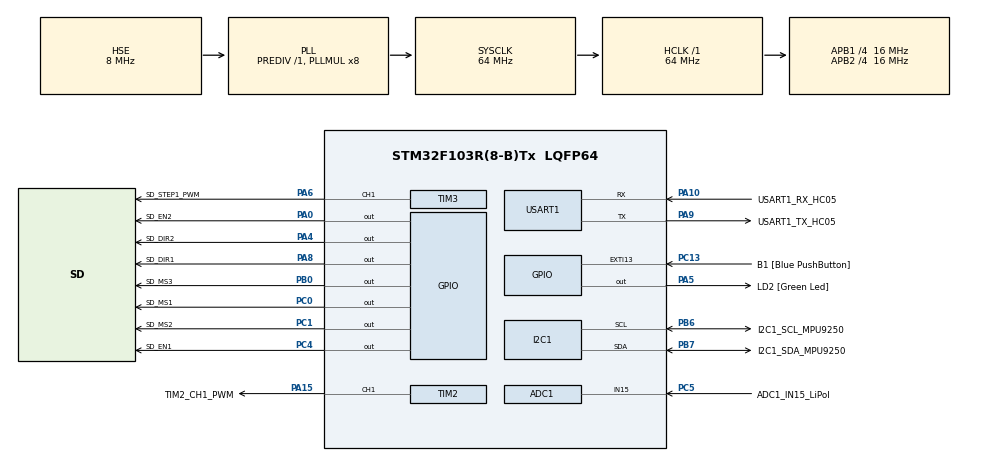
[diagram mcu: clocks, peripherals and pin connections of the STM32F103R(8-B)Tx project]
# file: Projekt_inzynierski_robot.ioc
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ADC1.Channel-0\#ChannelRegularConversion=ADC_CHANNEL_15
ADC1.EnableAnalogWatchDog=false
ADC1.NbrOfConversionFlag=1
ADC1.Rank-0\#ChannelRegularConversion=1
ADC1.SamplingTime-0\#ChannelRegularConversion=ADC_SAMPLETIME_239CYCLES_5
ADC1.master=1
Dma.ADC1.0.Direction=DMA_PERIPH_TO_MEMORY
Dma.ADC1.0.Instance=DMA1_Channel1
Dma.ADC1.0.MemDataAlignment=DMA_MDATAALIGN_HALFWORD
Dma.ADC1.0.MemInc=DMA_MINC_ENABLE
Dma.ADC1.0.Mode=DMA_NORMAL
Dma.ADC1.0.PeriphDataAlignment=DMA_PDATAALIGN_HALFWORD
Dma.ADC1.0.PeriphInc=DMA_PINC_DISABLE
Dma.ADC1.0.Priority=DMA_PRIORITY_LOW
Dma.I2C1_RX.1.Direction=DMA_PERIPH_TO_MEMORY
Dma.I2C1_RX.1.Instance=DMA1_Channel7
Dma.I2C1_RX.1.MemDataAlignment=DMA_MDATAALIGN_BYTE
Dma.I2C1_RX.1.MemInc=DMA_MINC_ENABLE
Dma.I2C1_RX.1.Mode=DMA_NORMAL
Dma.I2C1_RX.1.PeriphDataAlignment=DMA_PDATAALIGN_BYTE
Dma.I2C1_RX.1.PeriphInc=DMA_PINC_DISABLE
Dma.I2C1_RX.1.Priority=DMA_PRIORITY_LOW
Dma.I2C1_TX.2.Direction=DMA_MEMORY_TO_PERIPH
Dma.I2C1_TX.2.Instance=DMA1_Channel6
Dma.I2C1_TX.2.MemDataAlignment=DMA_MDATAALIGN_BYTE
Dma.I2C1_TX.2.MemInc=DMA_MINC_ENABLE
Dma.I2C1_TX.2.Mode=DMA_NORMAL
Dma.I2C1_TX.2.PeriphDataAlignment=DMA_PDATAALIGN_BYTE
Dma.I2C1_TX.2.PeriphInc=DMA_PINC_DISABLE
Dma.I2C1_TX.2.Priority=DMA_PRIORITY_LOW
Dma.Request0=ADC1
Dma.Request1=I2C1_RX
Dma.Request2=I2C1_TX
Dma.Request3=USART1_RX
Dma.Request4=USART1_TX
Dma.USART1_RX.3.Direction=DMA_PERIPH_TO_MEMORY
Dma.USART1_RX.3.Instance=DMA1_Channel5
Dma.USART1_RX.3.MemDataAlignment=DMA_MDATAALIGN_BYTE
Dma.USART1_RX.3.MemInc=DMA_MINC_ENABLE
Dma.USART1_RX.3.Mode=DMA_NORMAL
Dma.USART1_RX.3.PeriphDataAlignment=DMA_PDATAALIGN_BYTE
Dma.USART1_RX.3.PeriphInc=DMA_PINC_DISABLE
Dma.USART1_RX.3.Priority=DMA_PRIORITY_LOW
Dma.USART1_TX.4.Direction=DMA_MEMORY_TO_PERIPH
Dma.USART1_TX.4.Instance=DMA1_Channel4
Dma.USART1_TX.4.MemDataAlignment=DMA_MDATAALIGN_BYTE
Dma.USART1_TX.4.MemInc=DMA_MINC_ENABLE
Dma.USART1_TX.4.Mode=DMA_NORMAL
Dma.USART1_TX.4.PeriphDataAlignment=DMA_PDATAALIGN_BYTE
Dma.USART1_TX.4.PeriphInc=DMA_PINC_DISABLE
Dma.USART1_TX.4.Priority=DMA_PRIORITY_LOW
FREERTOS.Tasks01=LiPol_Task,0,512,Start_LiPol_Task,Default,NULL,Dynamic,NULL,NULL;Engines_Task,0,512,Start_Engines_Task,Default,NULL,Dynamic,NULL,NULL;IMU_Task,1,512,Start_IMU_Task,Default,NULL,Dynamic,NULL,NULL;USART_Task,0,512,Start_USART_Task,Default,NULL,Dynamic,NULL,NULL;Control_Task,0,512,Start_Control_Task,Default,NULL,Dynamic,NULL,NULL
FREERTOS.configTOTAL_HEAP_SIZE=12000
Mcu.Family=STM32F1
Mcu.Name=STM32F103R(8-B)Tx
Mcu.Package=LQFP64
NVIC.DMA1_Channel1_IRQn=true\:5\:0\:false\:false\:true\:true\:false\:true
NVIC.DMA1_Channel4_IRQn=true\:5\:0\:false\:false\:true\:true\:false\:true
NVIC.DMA1_Channel5_IRQn=true\:5\:0\:false\:false\:true\:true\:false\:true
NVIC.DMA1_Channel6_IRQn=true\:5\:0\:false\:false\:true\:true\:false\:true
NVIC.DMA1_Channel7_IRQn=true\:5\:0\:false\:false\:true\:true\:false\:true
NVIC.EXTI15_10_IRQn=true\:5\:0\:false\:false\:true\:true\:true\:true
NVIC.PriorityGroup=NVIC_PRIORITYGROUP_4
NVIC.USART1_IRQn=true\:5\:0\:false\:false\:true\:true\:true\:true
PA0-WKUP.GPIO_Label=SD_EN2
PA0-WKUP.Signal=GPIO_Output
PA10.GPIO_Label=USART1_RX_HC05
PA10.Mode=Asynchronous
PA10.Signal=USART1_RX
PA13.GPIO_Label=TMS
PA13.Mode=Serial_Wire
PA13.Signal=SYS_JTMS-SWDIO
PA14.GPIO_Label=TCK
PA14.Mode=Serial_Wire
PA14.Signal=SYS_JTCK-SWCLK
PA15.GPIO_Label=TIM2_CH1_PWM
PA15.Signal=S_TIM2_CH1_ETR
PA4.GPIO_Label=SD_DIR2
PA4.Signal=GPIO_Output
PA5.GPIO_Label=LD2 [Green Led]
PA5.GPIO_ModeDefaultOutputPP=GPIO_MODE_OUTPUT_PP
PA5.GPIO_PuPd=GPIO_NOPULL
PA5.GPIO_Speed=GPIO_SPEED_FREQ_LOW
PA5.Signal=GPIO_Output
PA6.GPIO_Label=SD_STEP1_PWM
PA6.Signal=S_TIM3_CH1
PA8.GPIO_Label=SD_DIR1
PA8.Signal=GPIO_Output
PA9.GPIO_Label=USART1_TX_HC05
PA9.Mode=Asynchronous
PA9.Signal=USART1_TX
PB0.GPIO_Label=SD_MS3
PB0.Signal=GPIO_Output
PB3.GPIO_Label=SWO
PB3.Signal=SYS_JTDO-TRACESWO
PB6.GPIO_Label=I2C1_SCL_MPU9250
PB6.Mode=I2C
PB6.Signal=I2C1_SCL
PB7.GPIO_Label=I2C1_SDA_MPU9250
PB7.Mode=I2C
PB7.Signal=I2C1_SDA
PC0.GPIO_Label=SD_MS1
PC0.Signal=GPIO_Output
PC1.GPIO_Label=SD_MS2
PC1.Signal=GPIO_Output
PC13-TAMPER-RTC.GPIO_Label=B1 [Blue PushButton]
PC13-TAMPER-RTC.GPIO_PuPd=GPIO_NOPULL
PC13-TAMPER-RTC.Signal=GPXTI13
PC14-OSC32_IN.Mode=LSE-External-Oscillator
PC14-OSC32_IN.Signal=RCC_OSC32_IN
PC15-OSC32_OUT.Mode=LSE-External-Oscillator
PC15-OSC32_OUT.Signal=RCC_OSC32_OUT
PC4.GPIO_Label=SD_EN1
PC4.Signal=GPIO_Output
PC5.GPIO_Label=ADC1_IN15_LiPol
PC5.Signal=ADCx_IN15
PD0-OSC_IN.Mode=HSE-External-Clock-Source
PD0-OSC_IN.Signal=RCC_OSC_IN
PD1-OSC_OUT.Mode=HSE-External-Clock-Source
PD1-OSC_OUT.Signal=RCC_OSC_OUT
ProjectManager.HeapSize=0x200
ProjectManager.StackSize=0x400
ProjectManager.TargetToolchain=TrueSTUDIO
RCC.ADCPresc=RCC_ADCPCLK2_DIV4
RCC.AHBFreq_Value=64000000
RCC.APB1CLKDivider=RCC_HCLK_DIV4
RCC.APB1Freq_Value=16000000
RCC.APB1TimFreq_Value=32000000
RCC.APB2CLKDivider=RCC_HCLK_DIV4
RCC.APB2Freq_Value=16000000
RCC.APB2TimFreq_Value=32000000
RCC.HCLKFreq_Value=64000000
RCC.PLLMUL=RCC_PLL_MUL8
RCC.PLLSourceVirtual=RCC_PLLSOURCE_HSE
RCC.RTCClockSelection=RCC_RTCCLKSOURCE_LSE
RCC.SYSCLKFreq_VALUE=64000000
RCC.SYSCLKSource=RCC_SYSCLKSOURCE_PLLCLK
RCC.USBFreq_Value=64000000
SH.ADCx_IN15.0=ADC1_IN15,IN15
SH.S_TIM2_CH1_ETR.0=TIM2_CH1,PWM Generation1 CH1
SH.S_TIM3_CH1.0=TIM3_CH1,PWM Generation1 CH1
TIM2.Channel-PWM\ Generation1\ CH1=TIM_CHANNEL_1
TIM2.Period=999
TIM3.Channel-PWM\ Generation1\ CH1=TIM_CHANNEL_1
TIM3.Period=999
USART1.VirtualMode=VM_ASYNC
VP_FREERTOS_VS_CMSIS_V1.Mode=CMSIS_V1
VP_TIM2_VS_ClockSourceINT.Mode=Internal
VP_TIM3_VS_ClockSourceINT.Mode=Internal
board=NUCLEO-F103RB

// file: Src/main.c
/* USER CODE BEGIN Header */
/**
  ******************************************************************************
  * @file           : main.c
  * @brief          : Main program body
  ******************************************************************************
  * @attention
  *
  * <h2><center>&copy; Copyright (c) 2019 STMicroelectronics.
  * All rights reserved.</center></h2>
  *
  * This software component is licensed by ST under Ultimate Liberty license
  * SLA0044, the "License"; You may not use this file except in compliance with
  * the License. You may obtain a copy of the License at:
  *                             www.st.com/SLA0044
  *
  ******************************************************************************
  */
/* USER CODE END Header */

#include "main.h"
#include "cmsis_os.h"
#include "adc.h"
#include "dma.h"
#include "i2c.h"
#include "tim.h"
#include "usart.h"
#include "gpio.h"

void SystemClock_Config(void);
void MX_FREERTOS_Init(void);

int main(void)
{

  /* MCU Configuration--------------------------------------------------------*/

  /* Reset of all peripherals, Initializes the Flash interface and the Systick. */
  HAL_Init();

  /* Configure the system clock */
  SystemClock_Config();

  /* Initialize all configured peripherals */
  MX_GPIO_Init();
  MX_DMA_Init();
  MX_ADC1_Init();
  MX_I2C1_Init();
  MX_TIM2_Init();
  MX_TIM3_Init();
  MX_USART1_UART_Init();

  /* Call init function for freertos objects (in freertos.c) */
  MX_FREERTOS_Init();

  /* Start scheduler */
  osKernelStart();

  /* We should never get here as control is now taken by the scheduler */

  /* Infinite loop */
  while (1)
  {

  }
}

void SystemClock_Config(void)
{
  RCC_OscInitTypeDef RCC_OscInitStruct = {0};
  RCC_ClkInitTypeDef RCC_ClkInitStruct = {0};
  RCC_PeriphCLKInitTypeDef PeriphClkInit = {0};

  /** Initializes the CPU, AHB and APB busses clocks
  */
  RCC_OscInitStruct.OscillatorType = RCC_OSCILLATORTYPE_HSE;
  RCC_OscInitStruct.HSEState = RCC_HSE_BYPASS;
  RCC_OscInitStruct.HSEPredivValue = RCC_HSE_PREDIV_DIV1;
  RCC_OscInitStruct.HSIState = RCC_HSI_ON;
  RCC_OscInitStruct.PLL.PLLState = RCC_PLL_ON;
  RCC_OscInitStruct.PLL.PLLSource = RCC_PLLSOURCE_HSE;
  RCC_OscInitStruct.PLL.PLLMUL = RCC_PLL_MUL8;
  if (HAL_RCC_OscConfig(&RCC_OscInitStruct) != HAL_OK)
  {
    Error_Handler();
  }
  /** Initializes the CPU, AHB and APB busses clocks
  */
  RCC_ClkInitStruct.ClockType = RCC_CLOCKTYPE_HCLK|RCC_CLOCKTYPE_SYSCLK
                              |RCC_CLOCKTYPE_PCLK1|RCC_CLOCKTYPE_PCLK2;
  RCC_ClkInitStruct.SYSCLKSource = RCC_SYSCLKSOURCE_PLLCLK;
  RCC_ClkInitStruct.AHBCLKDivider = RCC_SYSCLK_DIV1;
  RCC_ClkInitStruct.APB1CLKDivider = RCC_HCLK_DIV4;
  RCC_ClkInitStruct.APB2CLKDivider = RCC_HCLK_DIV4;

  if (HAL_RCC_ClockConfig(&RCC_ClkInitStruct, FLASH_LATENCY_2) != HAL_OK)
  {
    Error_Handler();
  }
  PeriphClkInit.PeriphClockSelection = RCC_PERIPHCLK_ADC;
  PeriphClkInit.AdcClockSelection = RCC_ADCPCLK2_DIV4;
  if (HAL_RCCEx_PeriphCLKConfig(&PeriphClkInit) != HAL_OK)
  {
    Error_Handler();
  }
}

void Error_Handler(void)
{
}

/************************ (C) COPYRIGHT STMicroelectronics *****END OF FILE****/

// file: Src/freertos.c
/* USER CODE BEGIN Header */
/**
  ******************************************************************************
  * File Name          : freertos.c
  * Description        : Code for freertos applications
  ******************************************************************************
  * @attention
  *
  * <h2><center>&copy; Copyright (c) 2019 STMicroelectronics.
  * All rights reserved.</center></h2>
  *
  * This software component is licensed by ST under Ultimate Liberty license
  * SLA0044, the "License"; You may not use this file except in compliance with
  * the License. You may obtain a copy of the License at:
  *                             www.st.com/SLA0044
  *
  ******************************************************************************
  */
/* USER CODE END Header */

#include "FreeRTOS.h"
#include "task.h"
#include "main.h"
#include "cmsis_os.h"

/* USER CODE BEGIN Includes */
#include "adc.h"
#include "a4988.h"
#include "tim.h"
#include "mpu9250.h"
#include "apid.h"
#include "spid.h"
#include "hc05.h"

/* USER CODE END Includes */

/* USER CODE BEGIN PD */
#define SETPOINT_ANGLE			0
#define KP_ANGLE				10
#define KI_ANGLE				100
#define KD_ANGLE				0.1

#define SETPOINT_SPEED			0
#define KP_SPEED				20
#define KI_SPEED				25
#define KD_SPEED				0.1

#define FILTER_WEIGHT 			0.001
#define VARIANCE				1000
#define BETA					0.01

/* USER CODE END PD */

/* USER CODE BEGIN Variables */

/* ------------> MPU9250 variables <------------- */
float a_x_g_global = 0, a_y_g_global = 0, a_z_g_global = 0;
float g_x_dgs_global = 0, g_y_dgs_global = 0, g_z_dgs_global = 0;
float m_x_uT_global = 0, m_y_uT_global = 0, m_z_uT_global = 0;

float a_roll_global = 0, a_pitch_global = 0;
float g_roll_global  = 0, g_pitch_global = 0, g_yaw_global   = 0;
float m_yaw_global = 0;

int16_t a_x_offset_global = 0, a_y_offset_global = 0, a_z_offset_global = 0;
int16_t g_x_offset_global = 0, g_y_offset_global = 0, g_z_offset_global = 0;

float Filter_Roll_global = 0, Filter_Pitch_global = 0, Filter_Yaw_global = 0;

float Filter_weight_global = FILTER_WEIGHT;
int16_t Kalman_filter_process_variance = VARIANCE;
float Madgwick_filter_beta = BETA;

/* -----------> Angle PID variables <------------- */
struct Angle_PID a_pid_left, a_pid_right;

double Angle_Set_point_left_global  = SETPOINT_ANGLE;
double Angle_Set_point_right_global = SETPOINT_ANGLE;

double Angle_KP_global = KP_ANGLE,
	   Angle_KI_global = KI_ANGLE,
	   Angle_KD_global = KD_ANGLE;

/* -----------> Speed PID variables <------------- */
struct Speed_PID s_pid_left, s_pid_right;

double Speed_Set_point_left_global  = SETPOINT_SPEED;
double Speed_Set_point_right_global = SETPOINT_SPEED;

double Speed_KP_global = KP_SPEED,
	   Speed_KI_global = KI_SPEED,
	   Speed_KD_global = KD_SPEED;

/* -----------> A4988 variables <----------- */
int16_t LeftEngineSpeed_global = 0;
int16_t RightEngineSpeed_global = 0;

int16_t LeftEngineSpeed_control_global = 0;
int16_t RightEngineSpeed_control_global = 0;

/* -----------> Communication variables <----------- */
UART_HandleTypeDef *HC05_handle = &huart1;

struct Data_frame_from_PC	DF_PC;
struct Data_frame_to_PC		DT_PC;

uint8_t Data_to_PC[DATA_FRAME_TO_PC_SIZE];
uint8_t Data_from_PC[DATA_FRAME_FROM_PC_SIZE];

/* -----------> 	LiPol variables 	<----------- */
int16_t LiPol_voltage_global = 0;

/* -----------> Additional variables    <----------- */
uint8_t Emergency_stop_global = 0;
uint8_t Robot_fell_over_global = 0;
uint8_t Which_filter_global = 0;

float dt = 0;

/* USER CODE END Variables */
osThreadId LiPol_TaskHandle;
osThreadId Engines_TaskHandle;
osThreadId IMU_TaskHandle;
osThreadId USART_TaskHandle;
osThreadId Control_TaskHandle;

void Start_LiPol_Task(void const * argument);
void Start_Engines_Task(void const * argument);
void Start_IMU_Task(void const * argument);
void Start_USART_Task(void const * argument);
void Start_Control_Task(void const * argument);

void MX_FREERTOS_Init(void); /* (MISRA C 2004 rule 8.1) */

void MX_FREERTOS_Init(void) {

  /* Create the thread(s) */
  /* definition and creation of LiPol_Task */
  osThreadDef(LiPol_Task, Start_LiPol_Task, osPriorityNormal, 0, 512);
  LiPol_TaskHandle = osThreadCreate(osThread(LiPol_Task), NULL);

  /* definition and creation of Engines_Task */
  osThreadDef(Engines_Task, Start_Engines_Task, osPriorityNormal, 0, 512);
  Engines_TaskHandle = osThreadCreate(osThread(Engines_Task), NULL);

  /* definition and creation of IMU_Task */
  osThreadDef(IMU_Task, Start_IMU_Task, osPriorityRealtime, 0, 512);
  IMU_TaskHandle = osThreadCreate(osThread(IMU_Task), NULL);

  /* definition and creation of USART_Task */
  osThreadDef(USART_Task, Start_USART_Task, osPriorityNormal, 0, 512);
  USART_TaskHandle = osThreadCreate(osThread(USART_Task), NULL);

  /* definition and creation of Control_Task */
  osThreadDef(Control_Task, Start_Control_Task, osPriorityNormal, 0, 512);
  Control_TaskHandle = osThreadCreate(osThread(Control_Task), NULL);

}

void Start_LiPol_Task(void const * argument)
{

  /* USER CODE BEGIN Start_LiPol_Task */

	/* LiPol_Task variables */
	ADC_HandleTypeDef *LiPol_adc_handle = &hadc1;

	uint32_t ADC_reading = 0;

	const float Supply_voltage = 3.3;
	const float ADC_resolution = 4096.0;
	const float Voltage_divider_ratio = 4.7341;

	uint16_t Measurement_counter = 1;
	float   LiPol_voltage = 0;
	float LiPol_voltage_sum = 0;

	/* LiPol_Task init */
	HAL_ADC_Start_DMA(LiPol_adc_handle, &ADC_reading, 1);

	osDelay(100);

  /* Infinite loop */
  for(;;)
  {
	  /* Case 1: Measurement and conversion to voltage */
	  HAL_ADC_Start_DMA(LiPol_adc_handle, &ADC_reading, 1);

	  LiPol_voltage = (Supply_voltage * ADC_reading) / (ADC_resolution - 1);
	  LiPol_voltage *= Voltage_divider_ratio;
	  LiPol_voltage *= 100;

	  LiPol_voltage_sum += LiPol_voltage;

	  LiPol_voltage = LiPol_voltage_sum / Measurement_counter;
	  LiPol_voltage_global = LiPol_voltage;

	  /* Case 2: Voltage lower than 10.5 V */
	  if( LiPol_voltage < 1050 ) {

		  for(int i = 0; i < 20; i++) {

			  HAL_GPIO_TogglePin(LD2_GPIO_Port, LD2_Pin);
			  osDelay(100);
		  }
	  }
	  /* Case 3: Voltage lower than 10.0 V */
	  if( LiPol_voltage < 1000 ) {

		  Emergency_stop_global = 0;
	  }

	  Measurement_counter++;

	  osDelay(10000);
  }
  /* USER CODE END Start_LiPol_Task */
}

void Start_Engines_Task(void const * argument)
{
  /* USER CODE BEGIN Start_Engines_Task */

	osDelay(100);

	/* Engines task variables */
	struct A4988 A4988_1;
	struct A4988 A4988_2;

	/* Engines initialization */
	A4988_Init(&A4988_1,
			   &htim2, TIM_CHANNEL_1,
		  	   SD_EN1_GPIO_Port, SD_EN1_Pin,
			   SD_DIR1_GPIO_Port, SD_DIR1_Pin,
			   SD_MS1_GPIO_Port, SD_MS1_Pin,
			   SD_MS2_GPIO_Port, SD_MS2_Pin,
			   SD_MS3_GPIO_Port, SD_MS3_Pin);

	A4988_Init(&A4988_2,
			   &htim3, TIM_CHANNEL_1,
			   SD_EN2_GPIO_Port, SD_EN2_Pin,
			   SD_DIR2_GPIO_Port, SD_DIR2_Pin,
			   SD_MS1_GPIO_Port, SD_MS1_Pin,
			   SD_MS2_GPIO_Port, SD_MS2_Pin,
			   SD_MS3_GPIO_Port, SD_MS3_Pin);

  /* Infinite loop */
  for(;;)
  {
		if( HAL_GPIO_ReadPin(B1_GPIO_Port, B1_Pin) == GPIO_PIN_RESET ) {

			if (Emergency_stop_global == 0) {

				Emergency_stop_global = 1;

			} else {

				Emergency_stop_global = 0;
			}

			osDelay(250);
		}

	/* -----------------> A4988 <----------------- */
	/* 	Update engines speed and direction         */
	if (Emergency_stop_global == 1) {

		A4988_Power_on(&A4988_1);
		A4988_Power_on(&A4988_2);

		if( LeftEngineSpeed_control_global == RightEngineSpeed_control_global ) {

			A4988_Set_Speed(&A4988_1, LeftEngineSpeed_global);
			A4988_Set_Speed(&A4988_2, -RightEngineSpeed_global);
		}
		else if( LeftEngineSpeed_control_global > RightEngineSpeed_control_global ) {

			RightEngineSpeed_global *= 0.25;

			A4988_Set_Speed(&A4988_1, LeftEngineSpeed_global );
		    A4988_Set_Speed(&A4988_2, -RightEngineSpeed_global );
		}
		else if( LeftEngineSpeed_control_global < RightEngineSpeed_control_global ) {

			LeftEngineSpeed_global *= 0.25;

			A4988_Set_Speed(&A4988_1, LeftEngineSpeed_global );
			A4988_Set_Speed(&A4988_2, -RightEngineSpeed_global );
		}
	}
	else {

		A4988_Power_off(&A4988_1);
		A4988_Power_off(&A4988_2);

		a_pid_left.integral = 0;
		a_pid_right.integral = 0;

		s_pid_left.integral = 0;
		s_pid_right.integral = 0;

		a_pid_left.control = 0;
		a_pid_right.control = 0;

		s_pid_left.control = 0;
		s_pid_right.control = 0;

		LeftEngineSpeed_global = 0;
		RightEngineSpeed_global = 0;
	}

	osDelay(5);
  }
  /* USER CODE END Start_Engines_Task */
}

void Start_IMU_Task(void const * argument)
{
  /* USER CODE BEGIN Start_IMU_Task */

	/* IMU task variables */
	uint8_t mpu9250_correct_init_global = 0;

	struct MPU9250 mpu1;

	uint32_t I_Time_Stop = 0;
	uint32_t I_Time_Start = 0;

	/* IMU task initialization */

	HAL_GPIO_TogglePin(LD2_GPIO_Port, LD2_Pin);
	osDelay(100);

	if (MPU9250_Init(&hi2c1, &mpu1, MPU9250_Device_1, MPU9250_Acce_2G, MPU9250_Gyro_2000s) == MPU9250_Init_OK) {

		MPU9250_Set_Offsets(&hi2c1, &mpu1, -142, 125, 448, 6, -7, 6, 24, 146, -92.5);

		//MPU9250_Calibration_Acce(&hi2c1, &mpu1);
		//MPU9250_Calibration_Gyro(&hi2c1, &mpu1);
		//MPU9250_Calibration_Mag(&hi2c1, &mpu1);

		MPU9250_Calculate_RPY(&hi2c1, &mpu1, dt);
		mpu1.Gyroscope_Roll  = mpu1.Accelerometer_Roll;
		mpu1.Gyroscope_Pitch = mpu1.Accelerometer_Pitch;
		mpu1.Gyroscope_Yaw   = mpu1.Magnetometer_Yaw;

		//a_x_offset_global = mpu1.Accelerometer_X_offset, a_y_offset_global = mpu1.Accelerometer_Y_offset, a_z_offset_global = mpu1.Accelerometer_Z_offset;
		//g_x_offset_global = mpu1.Gyroscope_X_offset, g_y_offset_global = mpu1.Gyroscope_Y_offset, g_z_offset_global = mpu1.Gyroscope_Z_offset;

		for (int i = 0; i < 3; ++i) {

			HAL_GPIO_WritePin(LD2_GPIO_Port, LD2_Pin, GPIO_PIN_SET);
			osDelay(200);
			HAL_GPIO_WritePin(LD2_GPIO_Port, LD2_Pin, GPIO_PIN_RESET);
			osDelay(200);
		}

		mpu9250_correct_init_global = 1;
	}
	else {

		mpu9250_correct_init_global = 0;
	}

	osDelay(100);
	HAL_GPIO_TogglePin(LD2_GPIO_Port, LD2_Pin);

  /* Infinite loop */
  for(;;)
  {
	  if( mpu9250_correct_init_global == 1 ) {

		  /* Case 1: Time measurement */
		  I_Time_Start = I_Time_Stop;
		  I_Time_Stop = HAL_GetTick();

		  dt = (float)( I_Time_Stop - I_Time_Start ) / 1000;

		  /* Case 2: RPY calculation */
		  MPU9250_Calculate_RPY(&hi2c1, &mpu1, dt);

		  a_x_g_global = mpu1.Accelerometer_X_g, a_y_g_global = mpu1.Accelerometer_Y_g, a_z_g_global = mpu1.Accelerometer_Z_g;
		  g_x_dgs_global = mpu1.Gyroscope_X_dgs, g_y_dgs_global = mpu1.Gyroscope_Y_dgs, g_z_dgs_global = mpu1.Gyroscope_Z_dgs;
		  m_x_uT_global = mpu1.Magnetometer_X_uT, m_y_uT_global = mpu1.Magnetometer_Y_uT, m_z_uT_global = mpu1.Magnetometer_Z_uT;

		  a_roll_global = mpu1.Accelerometer_Roll, a_pitch_global = mpu1.Accelerometer_Pitch;
		  g_roll_global = mpu1.Gyroscope_Roll, g_pitch_global = mpu1.Gyroscope_Pitch, g_yaw_global = mpu1.Gyroscope_Yaw;
		  m_yaw_global = mpu1.Magnetometer_Yaw;

		  /* Case 3: Filters using */
		  Complementary_filter(&mpu1, Filter_weight_global, dt);
		  Kalman_filter(&mpu1, 0.000001, Kalman_filter_process_variance, dt);
		  Madgwick_filter(&mpu1, Madgwick_filter_beta, dt);

		  /* Complementary filter */
		  switch( Which_filter_global ) {

		  	  case 0:
		  		  Filter_Roll_global  = mpu1.Complementary_filter_Roll;
		  		  Filter_Pitch_global = mpu1.Complementary_filter_Pitch;
		  		  Filter_Yaw_global   = mpu1.Complementary_filter_Yaw;
		  		  break;

		  	  case 1:
		  		  Filter_Roll_global  = mpu1.Kalman_filter_Roll;
		  		  Filter_Pitch_global = mpu1.Kalman_filter_Pitch;
		  		  Filter_Yaw_global   = mpu1.Kalman_filter_Yaw;
		  		  break;

		  	  case 2:
		  		  Filter_Roll_global  = mpu1.Madgwick_filter_Roll;
		  		  Filter_Pitch_global = mpu1.Madgwick_filter_Pitch;
		  		  Filter_Yaw_global   = mpu1.Madgwick_filter_Yaw;
		  		  break;
		  }
	  }

	  osDelay(5);
  }
  /* USER CODE END Start_IMU_Task */
}

void Start_USART_Task(void const * argument)
{
  /* USER CODE BEGIN Start_USART_Task */

	/* Start receiving */
	HAL_UART_Receive_DMA(HC05_handle, Data_from_PC, DATA_FRAME_FROM_PC_SIZE);

  /* Infinite loop */
  for(;;)
  {
	  HC05_Fill_Data_frame_to_PC(&DT_PC, Data_to_PC,
			  	  	  	   	     LiPol_voltage_global,
								 Filter_Roll_global, Filter_Pitch_global, Filter_Yaw_global,
								 LeftEngineSpeed_global, RightEngineSpeed_global,
								 g_x_dgs_global, g_y_dgs_global, g_z_dgs_global,
								 a_x_g_global, a_y_g_global, a_z_g_global,
								 m_x_uT_global, m_y_uT_global, m_z_uT_global);

	  HAL_UART_Transmit_DMA(HC05_handle, Data_to_PC, DATA_FRAME_TO_PC_SIZE);

	  osDelay(10);
  }
  /* USER CODE END Start_USART_Task */
}

void Start_Control_Task(void const * argument)
{
  /* USER CODE BEGIN Start_Control_Task */

	/* Control task variables */
	uint32_t I_Time_Stop = 0;
	uint32_t I_Time_Start = 0;

	/* PID regulators initialization */
	Angle_PID_Init(&a_pid_left);
	Angle_PID_Init(&a_pid_left);

	Speed_PID_Init(&s_pid_right);
	Speed_PID_Init(&s_pid_right);

	float Actual_angle = 0;

  /* Infinite loop */
  for(;;)
  {
		I_Time_Start = I_Time_Stop;
		I_Time_Stop = HAL_GetTick();

		Speed_Set_point_left_global  = LeftEngineSpeed_control_global;
		Speed_Set_point_right_global = RightEngineSpeed_control_global;

		Actual_angle = Filter_Pitch_global;

		/* ---------------------------------> Speed PID <--------------------------------- */
		/* 					Update PID parameters and get PID output  	 				   */

		if ( Speed_Set_point_left_global != LeftEngineSpeed_global || Speed_Set_point_right_global != RightEngineSpeed_global ) {

			if (Speed_Set_point_left_global == Speed_Set_point_right_global) {

				/* Left engine */
				Speed_PID_Set_parameters(&s_pid_left, Speed_Set_point_left_global, Speed_KP_global, Speed_KI_global, Speed_KD_global);
				Speed_PID_Calculate(&s_pid_left, a_pid_left.control, I_Time_Start, I_Time_Stop);

				/* Right engine */
				Speed_PID_Set_parameters(&s_pid_right, Speed_Set_point_right_global, Speed_KP_global, Speed_KI_global, Speed_KD_global);
				Speed_PID_Calculate(&s_pid_right, a_pid_right.control, I_Time_Start, I_Time_Stop);

				Angle_Set_point_left_global  = -s_pid_left.control  / 1000;
				Angle_Set_point_right_global = -s_pid_right.control / 1000;
			}
			else if (Speed_Set_point_left_global != Speed_Set_point_right_global) {

				Speed_Set_point_left_global  = -50;
				Speed_Set_point_right_global = -50;

				/* Left engine */
				Speed_PID_Set_parameters(&s_pid_left, Speed_Set_point_left_global, Speed_KP_global, Speed_KI_global, Speed_KD_global);
				Speed_PID_Calculate(&s_pid_left, a_pid_left.control, I_Time_Start, I_Time_Stop);

				/* Right engine */
				Speed_PID_Set_parameters(&s_pid_right, Speed_Set_point_right_global, Speed_KP_global, Speed_KI_global, Speed_KD_global);
				Speed_PID_Calculate(&s_pid_right, a_pid_right.control, I_Time_Start, I_Time_Stop);

				Angle_Set_point_left_global  = -s_pid_left.control  / 1000;
				Angle_Set_point_right_global = -s_pid_right.control / 1000;
			}
		}

		/* ---------------------------------> Angle PID <--------------------------------- */
		/* 					Update PID parameters and get PID output  	 				   */

		if( Angle_Set_point_left_global != Actual_angle || Angle_Set_point_right_global != Actual_angle ) {

			/* Left engine */
			Angle_PID_Set_parameters(&a_pid_left, Angle_Set_point_left_global, Angle_KP_global, Angle_KI_global, Angle_KD_global);
			Angle_PID_Calculate(&a_pid_left, Actual_angle, I_Time_Start, I_Time_Stop);

			/* Right engine */
			Angle_PID_Set_parameters(&a_pid_right, Angle_Set_point_right_global, Angle_KP_global, Angle_KI_global, Angle_KD_global);
			Angle_PID_Calculate(&a_pid_right, Actual_angle, I_Time_Start, I_Time_Stop);

			if( fabs(Actual_angle) < 40 && Robot_fell_over_global != 1 ) {

				LeftEngineSpeed_global  = a_pid_left.control;
				RightEngineSpeed_global = a_pid_right.control;

			} else {

				Robot_fell_over_global = 1;

				LeftEngineSpeed_global  = 0;
				RightEngineSpeed_global = 0;

				a_pid_left.integral = 0;
				a_pid_right.integral = 0;

				s_pid_left.integral = 0;
				s_pid_right.integral = 0;

				a_pid_left.control = 0;
				a_pid_right.control = 0;

				s_pid_left.control = 0;
				s_pid_right.control = 0;

				LeftEngineSpeed_global = 0;
				RightEngineSpeed_global = 0;

				if( fabs(Actual_angle) < 5 ) {

					Robot_fell_over_global = 0;
				}
			}
		}

		if( Emergency_stop_global == 0 ) {

			a_pid_left.integral = 0;
			a_pid_right.integral = 0;

			s_pid_left.integral = 0;
			s_pid_right.integral = 0;

			a_pid_left.control = 0;
			a_pid_right.control = 0;

			s_pid_left.control = 0;
			s_pid_right.control = 0;

			LeftEngineSpeed_global = 0;
			RightEngineSpeed_global = 0;
		}

		osDelay(5);
  }
  /* USER CODE END Start_Control_Task */
}

/* USER CODE BEGIN Application */

void HAL_UART_RxCpltCallback(UART_HandleTypeDef *huart) {

	if (huart->Instance == USART1) {

		HAL_UART_Receive_DMA(HC05_handle, Data_from_PC, DATA_FRAME_FROM_PC_SIZE);

		if( HC05_Parse_Data_frame(&DF_PC, Data_from_PC) == 0 ) {

			HAL_GPIO_TogglePin(LD2_GPIO_Port, LD2_Pin);

			/* Angle PID data from PC */
			Angle_KP_global = (double) DF_PC.Angle_KP / 100;
			Angle_KI_global = (double) DF_PC.Angle_KI / 100;
			Angle_KD_global = (double) DF_PC.Angle_KD / 100;

			/* Speed PID data from PC */
			Speed_KP_global = (double) DF_PC.Speed_KP / 100;
			Speed_KI_global = (double) DF_PC.Speed_KI / 100;
			Speed_KD_global = (double) DF_PC.Speed_KD / 100;

			/* Filters data from PC */
			Filter_weight_global           = (float) DF_PC.Complementary_filter_weight / 1000;
			Kalman_filter_process_variance = DF_PC.Kalman_filter_process_variance;
			Madgwick_filter_beta           = (float) DF_PC.Madgwick_filter_beta / 1000;

			/* Engines speed data from PC */
			LeftEngineSpeed_control_global  = DF_PC.Left_engine_speed;
			RightEngineSpeed_control_global = DF_PC.Right_engine_speed;

			/* Additional data from PC */
			Emergency_stop_global = DF_PC.Emergency_stop;
			Which_filter_global = DF_PC.Which_filter;
		}
	}
}

/* USER CODE END Application */

/************************ (C) COPYRIGHT STMicroelectronics *****END OF FILE****/
